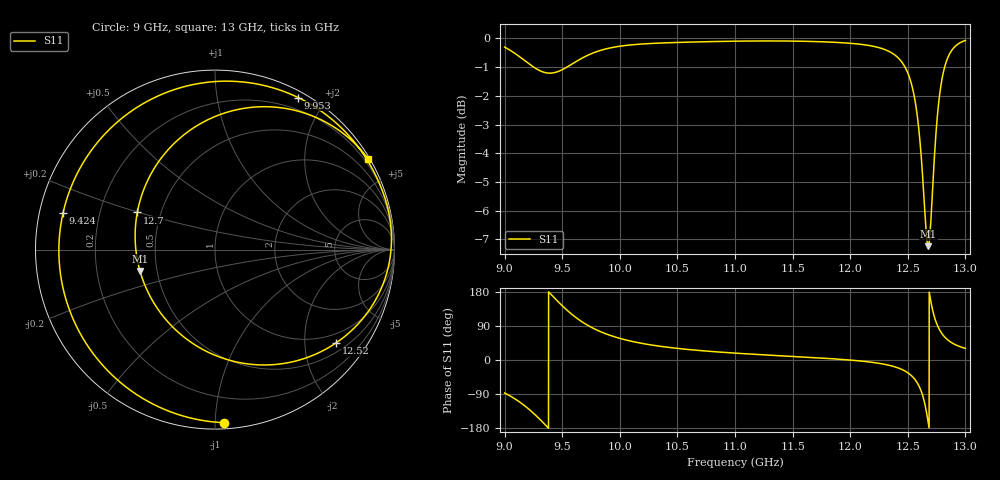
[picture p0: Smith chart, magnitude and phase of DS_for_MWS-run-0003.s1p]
! TOUCHSTONE file generated by CST DESIGN STUDIO
! Date and time: Tue Feb  4 14:17:25 2025
! Project name: C:\Work\MatlabApps\UnitCellOptimizationMatlab\CST\unitcell.cst
! Tree item: Tasks\Sweep1\SPara1\S-Parameters
! Header version: 2024
! Port assignment regex: !\s*Touchstone port\s*([0-9]+)\s*=\s*(CST MWS port|CST DES external port|CST DES block port)\s*(.+)\s* \(\"(.*)\"\)(\s*mode\s*([0-9]+))?.*
! Touchstone port assignment:
! Touchstone port 1 = CST DES external port 1 ("")
# GHz S MA R 50
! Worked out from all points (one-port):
!   4001 points, 9 GHz to 13 GHz, reference 50 ohm
!   lowest |S11| = -7.2 dB at 12.68 GHz (marker M1), VSWR 2.54, Z = 20 - j5.87 ohm
!   |S11| at or under -10 dB: nowhere
!   S11 on the Smith chart (normalised r, x): 9 GHz: 0.04, -1.05; 9.424 GHz: 0.07, +0.12; 9.953 GHz: 0.07, +1.69; 12.52 GHz: 0.73, -2.75; 12.7 GHz: 0.37, +0.20; 13 GHz: 0.06, +3.64
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9  0.9655 -87.0
9.11  0.9353 -106.6
9.206  0.9048 -128.5
9.324  0.8753 -162.0
9.424  0.871 166.4
9.5  0.882 143.2
9.588  0.903 119.5
9.682  0.926 98.8
9.815  0.9505 77.1
9.953  0.9656 61.3
10  0.969 57.1
10.214  0.9783 42.6
10.5  0.9838 30.6
11  0.9888 18.2
11.5  0.9891 9.4
12  0.9805 -0.2
12.341  0.9482 -14.2
12.5  0.8705 -33.7
12.518  0.851 -37.7
12.569  0.7658 -54.2
12.615  0.6286 -81.1
12.646  0.5062 -113.2
12.677  0.4347 -164.1
12.7  0.4799 154.5
12.74  0.6632 105.0
12.782  0.8138 76.5
12.87  0.9451 47.8
13  0.9917 30.7
